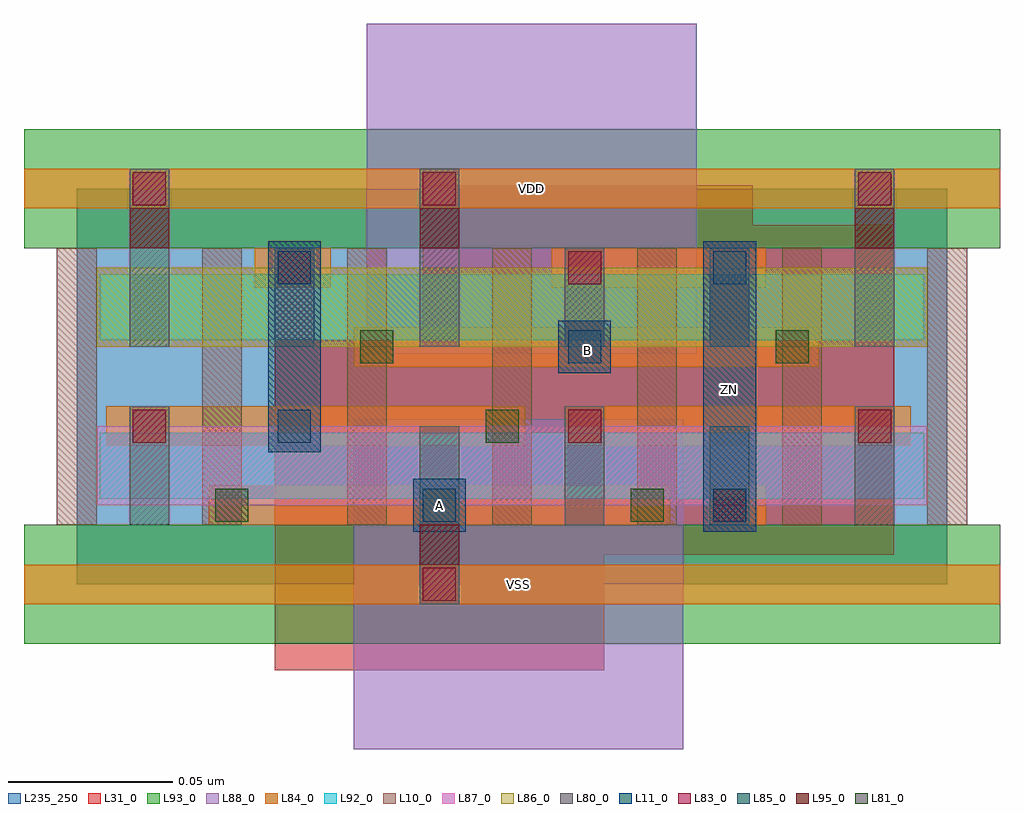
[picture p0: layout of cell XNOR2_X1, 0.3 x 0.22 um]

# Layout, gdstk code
import gdstk
lib = gdstk.Library(unit=1e-6, precision=1e-09)
def R(c, l, rs):  # rectangles x0, y0, x1, y1
    for r in rs: c.add(gdstk.rectangle(r[:2], r[2:], *l))
def A(c, l, x, y, w, h, nx, ny, dx, dy):  # array of equal rectangles
    R(c, l, [(x+i*dx, y+j*dy, x+i*dx+w, y+j*dy+h) for i in range(nx) for j in range(ny)])
L10_0 = (10, 0)
L11_0 = (11, 0)
L31_0 = (31, 0)
L80_0 = (80, 0)
L81_0 = (81, 0)
L83_0 = (83, 0)
L84_0 = (84, 0)
L85_0 = (85, 0)
L86_0 = (86, 0)
L87_0 = (87, 0)
L88_0 = (88, 0)
L92_0 = (92, 0)
L93_0 = (93, 0)
L95_0 = (95, 0)
L235_250 = (235, 250)

xnor2_x1 = lib.new_cell('XNOR2_X1')
A(xnor2_x1, L10_0, -0.006, 0.018, 0.012, 0.084, 7, 1, 0.044, 0)
R(xnor2_x1, L11_0, [(0.102,0.016,0.118,0.032), (0.19,0.016,0.206,0.104), (0.058,0.04,0.074,0.104), (0.146,0.064,0.162,0.08)])
R(xnor2_x1, L31_0, [(0.06,-0.026,0.16,0.074), (0.148,0.009,0.248,0.109), (0.105,0.021,0.205,0.121)])
R(xnor2_x1, L80_0, [(0.104,-0.006,0.116,0.048), (0.016,0.018,0.028,0.054), (0.148,0.018,0.16,0.054), (0.192,0.018,0.204,0.048), (0.236,0.018,0.248,0.054), (0.016,0.072,0.028,0.126), (0.06,0.072,0.072,0.102), (0.104,0.072,0.116,0.126), (0.148,0.072,0.16,0.102), (0.192,0.072,0.204,0.102), (0.236,0.072,0.248,0.126)])
R(xnor2_x1, L81_0, [(0.042,0.019,0.052,0.029), (0.168,0.019,0.178,0.029), (0.124,0.043,0.134,0.053), (0.086,0.067,0.096,0.077), (0.212,0.067,0.222,0.077)])
R(xnor2_x1, L83_0, [(0.105,-0.005,0.115,0.005), (0.193,0.019,0.203,0.029), (0.017,0.043,0.027,0.053), (0.149,0.043,0.159,0.053), (0.237,0.043,0.247,0.053), (0.061,0.091,0.071,0.101), (0.149,0.091,0.159,0.101), (0.017,0.115,0.027,0.125), (0.105,0.115,0.115,0.125), (0.237,0.115,0.247,0.125)])
R(xnor2_x1, L84_0, [(-0.016,-0.006,0.28,0.006), (0.04,0.018,0.18,0.03), (0.192,0.018,0.209,0.03), (0.009,0.042,0.136,0.054), (0.148,0.042,0.253,0.054), (0.084,0.066,0.225,0.078), (0.054,0.09,0.077,0.102), (0.144,0.09,0.209,0.102), (-0.016,0.114,0.28,0.126)])
R(xnor2_x1, L85_0, [(0.105,0.019,0.115,0.029), (0.193,0.019,0.203,0.029), (0.061,0.043,0.071,0.053), (0.149,0.067,0.159,0.077), (0.061,0.091,0.071,0.101), (0.061,0.091,0.071,0.101), (0.193,0.091,0.203,0.101)])
R(xnor2_x1, L86_0, [(0.006,0.072,0.258,0.096)])
R(xnor2_x1, L87_0, [(0.006,0.024,0.258,0.048)])
R(xnor2_x1, L88_0, [(0.084,-0.05,0.184,0.05), (0.088,0.07,0.188,0.17)])
R(xnor2_x1, L92_0, [(0.007,0.026,0.257,0.046), (0.007,0.074,0.257,0.094)])
R(xnor2_x1, L93_0, [(-0.016,-0.018,0.28,0.018), (-0.016,0.102,0.28,0.138)])
R(xnor2_x1, L95_0, [(0.104,0.006,0.116,0.018), (0.016,0.102,0.028,0.114), (0.104,0.102,0.116,0.114), (0.236,0.102,0.248,0.114)])
R(xnor2_x1, L235_250, [(0,0,0.264,0.12)])
xnor2_x1.add(gdstk.Label('VDD', (0.138,0.12), layer=88, texttype=0))
xnor2_x1.add(gdstk.Label('VSS', (0.134,0), layer=88, texttype=0))
xnor2_x1.add(gdstk.Label('A', (0.11,0.024), layer=31, texttype=0))
xnor2_x1.add(gdstk.Label('ZN', (0.198,0.059), layer=31, texttype=0))
xnor2_x1.add(gdstk.Label('B', (0.155,0.071), layer=31, texttype=0))

lib.write_gds('XNOR2_X1.gds')
